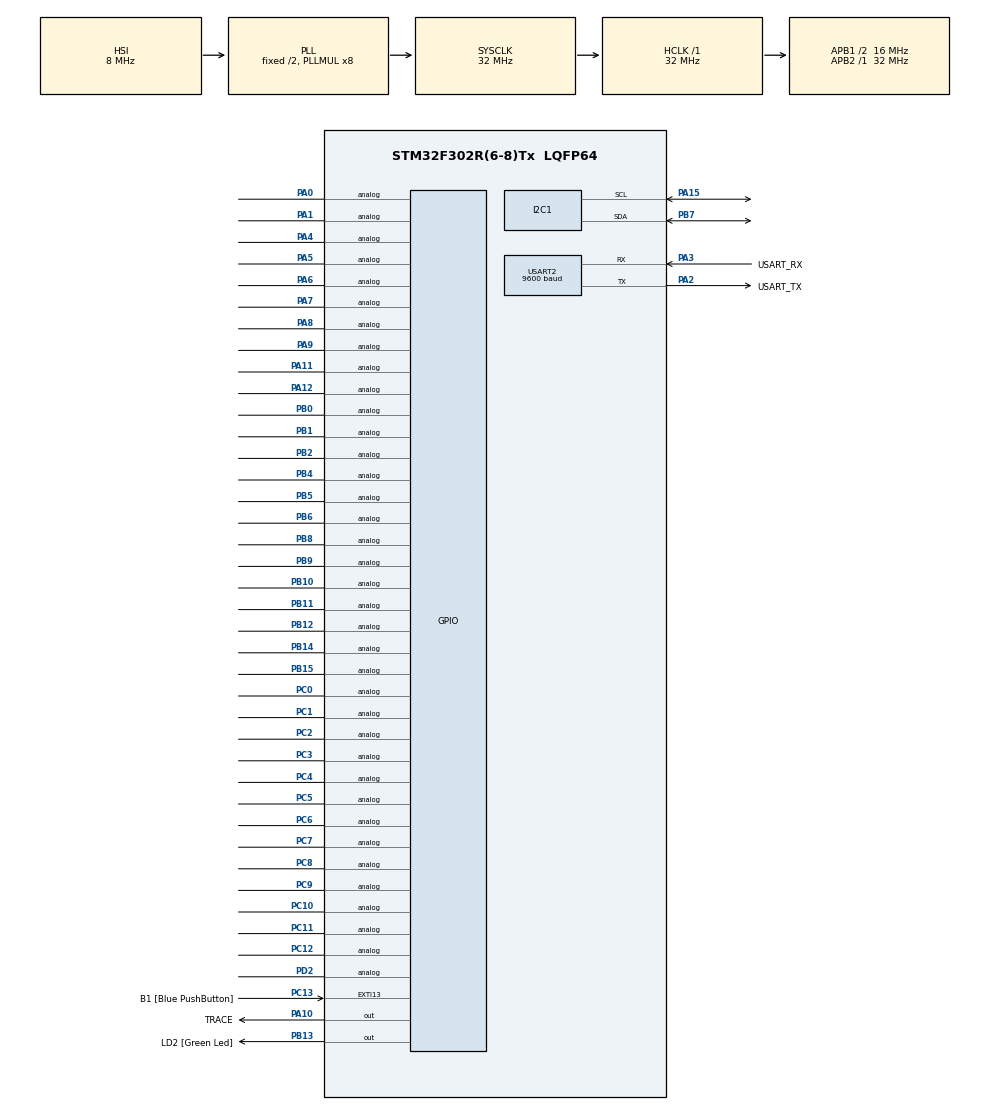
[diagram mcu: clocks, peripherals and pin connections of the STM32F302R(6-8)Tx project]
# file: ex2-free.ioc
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I2C1.Timing=0x00201D2B
Mcu.Family=STM32F3
Mcu.Name=STM32F302R(6-8)Tx
Mcu.Package=LQFP64
NVIC.I2C1_EV_IRQn=true\:0\:0\:false\:false\:true\:true\:true\:true
NVIC.PriorityGroup=NVIC_PRIORITYGROUP_0
PA0.Signal=GPIO_Analog
PA1.Signal=GPIO_Analog
PA10.GPIO_Label=TRACE
PA10.Signal=GPIO_Output
PA11.Signal=GPIO_Analog
PA12.Signal=GPIO_Analog
PA13.GPIO_Label=TMS
PA13.Mode=Serial_Wire
PA13.Signal=SYS_JTMS-SWDIO
PA14.GPIO_Label=TCK
PA14.Mode=Serial_Wire
PA14.Signal=SYS_JTCK-SWCLK
PA15.Mode=I2C
PA15.Signal=I2C1_SCL
PA2.GPIO_Label=USART_TX
PA2.GPIO_Mode=GPIO_MODE_AF_PP
PA2.GPIO_PuPd=GPIO_NOPULL
PA2.GPIO_Speed=GPIO_SPEED_FREQ_LOW
PA2.Mode=Asynchronous
PA2.Signal=USART2_TX
PA3.GPIO_Label=USART_RX
PA3.GPIO_Mode=GPIO_MODE_AF_PP
PA3.GPIO_PuPd=GPIO_NOPULL
PA3.GPIO_Speed=GPIO_SPEED_FREQ_LOW
PA3.Mode=Asynchronous
PA3.Signal=USART2_RX
PA4.Signal=GPIO_Analog
PA5.Signal=GPIO_Analog
PA6.Signal=GPIO_Analog
PA7.Signal=GPIO_Analog
PA8.Signal=GPIO_Analog
PA9.Signal=GPIO_Analog
PB0.Signal=GPIO_Analog
PB1.Signal=GPIO_Analog
PB10.Signal=GPIO_Analog
PB11.Signal=GPIO_Analog
PB12.Signal=GPIO_Analog
PB13.GPIO_Label=LD2 [Green Led]
PB13.Signal=GPIO_Output
PB14.Signal=GPIO_Analog
PB15.Signal=GPIO_Analog
PB2.Signal=GPIO_Analog
PB3.GPIO_Label=SWO
PB3.Mode=Trace_Asynchronous_SW
PB3.Signal=SYS_JTDO-TRACESWO
PB4.Signal=GPIO_Analog
PB5.Signal=GPIO_Analog
PB6.Signal=GPIO_Analog
PB7.Mode=I2C
PB7.Signal=I2C1_SDA
PB8.Signal=GPIO_Analog
PB9.Signal=GPIO_Analog
PC0.Signal=GPIO_Analog
PC1.Signal=GPIO_Analog
PC10.Signal=GPIO_Analog
PC11.Signal=GPIO_Analog
PC12.Signal=GPIO_Analog
PC13.GPIO_Label=B1 [Blue PushButton]
PC13.GPIO_ModeDefaultEXTI=GPIO_MODE_IT_FALLING
PC13.Signal=GPXTI13
PC14\ -\ OSC32_IN.Mode=LSE-External-Oscillator
PC14\ -\ OSC32_IN.Signal=RCC_OSC32_IN
PC15\ -\ OSC32_OUT.Mode=LSE-External-Oscillator
PC15\ -\ OSC32_OUT.Signal=RCC_OSC32_OUT
PC2.Signal=GPIO_Analog
PC3.Signal=GPIO_Analog
PC4.Signal=GPIO_Analog
PC5.Signal=GPIO_Analog
PC6.Signal=GPIO_Analog
PC7.Signal=GPIO_Analog
PC8.Signal=GPIO_Analog
PC9.Signal=GPIO_Analog
PD2.Signal=GPIO_Analog
PF0-OSC_IN.Mode=HSE-External-Clock-Source
PF0-OSC_IN.Signal=RCC_OSC_IN
PF1-OSC_OUT.Signal=RCC_OSC_OUT
ProjectManager.HeapSize=0x200
ProjectManager.StackSize=0x400
ProjectManager.TargetToolchain=STM32CubeIDE
RCC.AHBFreq_Value=32000000
RCC.APB1CLKDivider=RCC_HCLK_DIV2
RCC.APB1Freq_Value=16000000
RCC.APB1TimFreq_Value=32000000
RCC.APB2Freq_Value=32000000
RCC.APB2TimFreq_Value=32000000
RCC.CortexFreq_Value=32000000
RCC.HCLKFreq_Value=32000000
RCC.HSE_VALUE=8000000
RCC.HSI_VALUE=8000000
RCC.PLLM=8
RCC.PLLMUL=RCC_PLL_MUL8
RCC.PLLN=336
RCC.PLLP=RCC_PLLP_DIV4
RCC.PLLQ=7
RCC.RCC_PLLsource_Clock_Source_FROM_HSE=RCC_HSE_PREDIV_DIV2
RCC.SYSCLKFreq_VALUE=32000000
RCC.SYSCLKSourceVirtual=RCC_SYSCLKSOURCE_PLLCLK
RCC.USBFreq_Value=32000000
USART2.BaudRate=9600
USART2.VirtualMode-Asynchronous=VM_ASYNC
board=NUCLEO-F302R8

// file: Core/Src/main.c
/* USER CODE BEGIN Header */
/**
  ******************************************************************************
  * @file           : main.c
  * @brief          : Main program body
  ******************************************************************************
  * @attention
  *
  * Copyright (c) 2026 STMicroelectronics.
  * All rights reserved.
  *
  * This software is licensed under terms that can be found in the LICENSE file
  * in the root directory of this software component.
  * If no LICENSE file comes with this software, it is provided AS-IS.
  *
  ******************************************************************************
  */
/* USER CODE END Header */
#include "main.h"
#include "i2c.h"
#include "usart.h"
#include "gpio.h"

/* USER CODE BEGIN Includes */
#include<string.h>
#include<stdio.h>
/* USER CODE END Includes */

/* USER CODE BEGIN PV */
extern I2C_HandleTypeDef hi2c1;
extern UART_HandleTypeDef huart2;

static const uint8_t TMP102_ADDR = 0x48 << 1; // Use 8-bit address
static const uint8_t REG_TEMP = 0x00;
/* USER CODE END PV */

void SystemClock_Config(void);

int main(void)
{

  /* USER CODE BEGIN 1 */
  HAL_StatusTypeDef ret;
  uint8_t buf[12];
  int16_t val;
  float temp_c;
  /* USER CODE END 1 */

  /* MCU Configuration--------------------------------------------------------*/

  /* Reset of all peripherals, Initializes the Flash interface and the Systick. */
  HAL_Init();

  /* Configure the system clock */
  SystemClock_Config();

  /* Initialize all configured peripherals */
  MX_GPIO_Init();
  MX_I2C1_Init();
  MX_USART2_UART_Init();

  /* Infinite loop */
  /* USER CODE BEGIN WHILE */
  while (1)
    {

      HAL_GPIO_WritePin(TRACE_GPIO_Port, TRACE_Pin, GPIO_PIN_SET);
      HAL_GPIO_WritePin(LD2_GPIO_Port, LD2_Pin, GPIO_PIN_SET);
      // Tell TMP102 that we want to read from the temperature register
      buf[0] = REG_TEMP;
      ret = HAL_I2C_Master_Transmit(&hi2c1, TMP102_ADDR, buf, 1, HAL_MAX_DELAY);
      if ( ret != HAL_OK ) {
        strcpy((char*)buf, "Error Tx\r\n");
      } else {

        // Read 2 bytes from the temperature register
        ret = HAL_I2C_Master_Receive(&hi2c1, TMP102_ADDR, buf, 1, HAL_MAX_DELAY);
        if ( ret != HAL_OK ) {
          strcpy((char*)buf, "Error Rx\r\n");
        } else {

          //Combine the bytes
          val = ((int16_t)buf[0] << 4) | (buf[1] >> 4);

          // Convert to 2's complement, since temperature can be negative
          if ( val > 0x7FF ) {
            val |= 0xF000;
          }

          // Convert to float temperature value (Celsius)
          temp_c = val * 0.0625;

          // Convert temperature to decimal format
          temp_c *= 100;
          sprintf((char*)buf,
                "%u.%u C\r\n",
                ((unsigned int)temp_c / 100),
                ((unsigned int)temp_c % 100));
        }
      }

      // Send out buffer (temperature or error message)
      HAL_UART_Transmit(&huart2, buf, strlen((char*)buf), HAL_MAX_DELAY);

      HAL_GPIO_WritePin(LD2_GPIO_Port, LD2_Pin, GPIO_PIN_RESET);
      HAL_GPIO_WritePin(TRACE_GPIO_Port, TRACE_Pin, GPIO_PIN_RESET);
      // Wait
      HAL_Delay(500);
    /* USER CODE END WHILE */

  }
}

void SystemClock_Config(void)
{
  RCC_OscInitTypeDef RCC_OscInitStruct = {0};
  RCC_ClkInitTypeDef RCC_ClkInitStruct = {0};
  RCC_PeriphCLKInitTypeDef PeriphClkInit = {0};

  /** Initializes the RCC Oscillators according to the specified parameters
  * in the RCC_OscInitTypeDef structure.
  */
  RCC_OscInitStruct.OscillatorType = RCC_OSCILLATORTYPE_HSI;
  RCC_OscInitStruct.HSIState = RCC_HSI_ON;
  RCC_OscInitStruct.HSICalibrationValue = RCC_HSICALIBRATION_DEFAULT;
  RCC_OscInitStruct.PLL.PLLState = RCC_PLL_ON;
  RCC_OscInitStruct.PLL.PLLSource = RCC_PLLSOURCE_HSI;
  RCC_OscInitStruct.PLL.PLLMUL = RCC_PLL_MUL8;
  if (HAL_RCC_OscConfig(&RCC_OscInitStruct) != HAL_OK)
  {
    Error_Handler();
  }

  /** Initializes the CPU, AHB and APB buses clocks
  */
  RCC_ClkInitStruct.ClockType = RCC_CLOCKTYPE_HCLK|RCC_CLOCKTYPE_SYSCLK
                              |RCC_CLOCKTYPE_PCLK1|RCC_CLOCKTYPE_PCLK2;
  RCC_ClkInitStruct.SYSCLKSource = RCC_SYSCLKSOURCE_PLLCLK;
  RCC_ClkInitStruct.AHBCLKDivider = RCC_SYSCLK_DIV1;
  RCC_ClkInitStruct.APB1CLKDivider = RCC_HCLK_DIV2;
  RCC_ClkInitStruct.APB2CLKDivider = RCC_HCLK_DIV1;

  if (HAL_RCC_ClockConfig(&RCC_ClkInitStruct, FLASH_LATENCY_1) != HAL_OK)
  {
    Error_Handler();
  }
  PeriphClkInit.PeriphClockSelection = RCC_PERIPHCLK_I2C1;
  PeriphClkInit.I2c1ClockSelection = RCC_I2C1CLKSOURCE_HSI;
  if (HAL_RCCEx_PeriphCLKConfig(&PeriphClkInit) != HAL_OK)
  {
    Error_Handler();
  }
}

void Error_Handler(void)
{
  __disable_irq();
  while (1)
  {
  }
}
